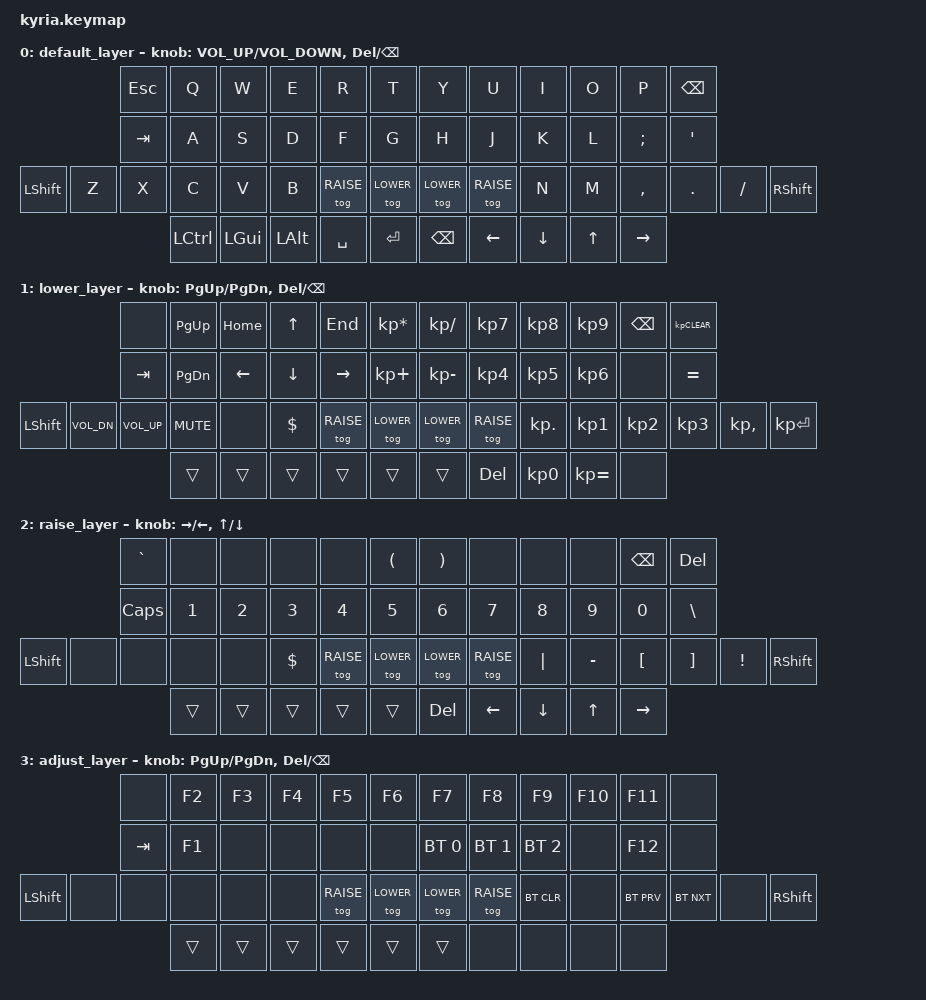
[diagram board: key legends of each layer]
/*
 * Copyright (c) 2020 The ZMK Contributors
 *
 * SPDX-License-Identifier: MIT
 */

#include <zephyr/zephyr.h>
#include <behaviors.dtsi>
#include <dt-bindings/zmk/keys.h>
#include <dt-bindings/zmk/bt.h>

#define DEFAULT 0
#define LOWER   1
#define RAISE   2
#define ADJUST  3

/ {
    conditional_layers {
        compatible = "zmk,conditional-layers";
        tri_layer {
            if-layers = <1 2>;
            then-layer = <3>;
        };
    };
};

/ {
	keymap {
		compatible = "zmk,keymap";

		default_layer {
// QWERTY Layout
// ---------------------------------------------------------------------------------------------------------------------------------
// |  ESC  |  Q  |  W  |  E    |  R   |   T   |                                          |   Y   |  U    |  I    |  O   |   P   | BkSp |
// |  TAB  |  A  |  S  |  D    |  F   |   G   |                                          |   H   |  J    |  K    |  L   |   ;   |  '   |
// | SHIFT |  Z  |  X  |  C    |  V   |   B   | LOWER | RAISE |        |RAISE |LOWER |   N   |  M    |  ,    |  .   |   /   | SHFT |
//                     | LCTRL  | LGUI  | LALT |  SPACE | Enter |      | bspc | Left | Down | Up  | Right |
			bindings = <
	&kp ESC  &kp Q &kp W &kp E &kp R &kp T                                                &kp Y &kp U  &kp I     &kp O   &kp P          &kp BSPC
	&kp TAB  &kp A &kp S &kp D &kp F &kp G                                                &kp H &kp J  &kp K     &kp L   &kp SEMICOLON  &kp APOSTROPHE
	&kp LSHFT  &kp Z &kp X &kp C &kp V &kp B  &tog RAISE &tog LOWER   &tog LOWER &tog RAISE &kp N &kp M  &kp COMMA &kp DOT &kp FSLH &kp RSHFT
	              &kp LCTRL &kp LGUI &kp LALT &kp SPACE &kp ENTER    &kp BSPC &kp LEFT &kp DOWN &kp UP &kp RIGHT
			>;
//Keypresses Volume Down and Volume Up Left Encoder  |  Keypressess Backspace and Delete Right Encoder
			sensor-bindings = <&inc_dec_kp C_VOLUME_UP C_VOLUME_DOWN &inc_dec_kp DEL BSPC>;
		};

		lower_layer {
// Navigation, Volume, and Numpad
// ---------------------------------------------------------------------------------------------------------------------------------
// |  NONE | PG UP | HOME       | ARROW UP | END        | *      |                                             |   /       |  7       |  8    |  9  |   BKSP   | CLEAR  |
// |  TAB  | PG DN | ARROW LEFT | ARROW DN | ARROW RHT  | +      |                                             |   -       |  4       |  5    |  6  |   NONE   |     =     |
// | SHIFT | VOL - | VOL +      | MUTE     | NONE       |  $     | Lower  | Raise |          |Raise| Lower |  KP_DOT   |  1       |  2    |  3  |     ,    |    Enter  |
//                              | TRANS    | TRANS      | TRANS  | SPACE  | enter|          | none |  none |   0       | KP_EQUAL | ????? |
			bindings = <
	&none    &kp PG_UP &kp HOME &kp UP &kp END &kp KP_MULTIPLY                                                  &kp KP_DIVIDE &kp KP_N7 &kp KP_N8 &kp KP_N9 &kp BSPC &kp KP_CLEAR
	&kp TAB  &kp PG_DN &kp LEFT  &kp DOWN &kp RIGHT  &kp KP_PLUS                                                &kp KP_MINUS &kp KP_N4 &kp KP_N5 &kp KP_N6 &none &kp EQUAL
	&kp LSHFT &kp C_VOL_DN &kp C_VOL_UP  &kp C_MUTE  &none  &kp DLLR &tog RAISE &tog LOWER   &tog LOWER &tog RAISE  &kp KP_DOT  &kp KP_N1 &kp KP_N2 &kp KP_N3 &kp KP_COMMA &kp KP_ENTER
	                     &trans &trans &trans &trans &trans                                   &trans &kp DEL &kp KP_N0 &kp KP_EQUAL &none
			>;
//Application controls Zoom In and Zoom Out Left Encoder |  Keypresses Backspace and Delete Right Encoder->CHANGED
			sensor-bindings = <&inc_dec_kp PG_UP PG_DN &inc_dec_kp DEL BSPC>; 
		};

		raise_layer {
// Number row and Punctuation
// ---------------------------------------------------------------------------------------------------------------------------------
// |  GRAVE  | NONE |  NONE | NONE | NONE |  (   |                                            |   )     | NONE  | NONE  | NONE | BKSP | DEL |
// |  CAPS  |  1 !  |  2 @  |  3 # | 4 $  |  5 % |                                            |   6 ^    |  7 & |  8 *  |  9 ( |  0 ) | \ |  |
// | SHIFT |  NONE  | NONE  | NONE | NONE |  $   | Lower  | Raise |        |Raise| Lower   |   PIPE  | MINUS |  LBKT | RBKT |  !   | SHFT |
//                     | TRANS | TRANS | TRANS   |SPACE  | enter|          | DEL | left |  down  | up |right|
			bindings = <
	&kp GRAVE &none &none &none &none &kp LPAR                                                             &kp RPAR &none &none &none  &kp BSPC &kp DEL
	&kp CAPS &kp N1 &kp N2 &kp N3 &kp N4 &kp N5                                                               &kp N6 &kp N7 &kp N8 &kp N9 &kp N0 &kp BSLH
	&kp LSHFT &none &none &none &none &kp DLLR &tog RAISE &tog LOWER   &tog LOWER &tog RAISE &kp PIPE &kp MINUS &kp LBKT &kp RBKT &kp EXCL &kp RSHFT
	                   &trans &trans &trans &trans &trans                   &kp DEL &kp LEFT &kp DOWN &kp UP &kp RIGHT
			>;
//Media Controls Rewind and Fast Foward on Left Encoder | Application Controls Backward and Forward Right Encoder
			sensor-bindings = <&inc_dec_kp RIGHT LEFT &inc_dec_kp UP DOWN>;
		};

		adjust_layer {
// Function row 
// ---------------------------------------------------------------------------------------------------------------------------------
// |  NONE |  F2  |  F3 |  F4  |  F5  |   F6   |                                            | F7 | F8  |  F9   |  F10  | F11 | NONE|
// |  TAB  |  F1  |  NONE | NONE | NONE | NONE |                                            | BT_SEL 0 | BT_SEL 1 | BT_SEL 2 | NONE | F12 | NONE |
// | SHIFT |  test key  |  NONE  | NONE | NONE | NONE |Lower| Raise |         |Raise| Lower | bt clr | none | bt prv | bt nxt | NONE | SHFT |
//                            | TRANS | TRANS | TRANS | test key | none |         | NONE |NONE | NONE | NONE |NONE|
			bindings = <
	&none &kp F2  &kp F3  &kp F4  &kp F5  &kp F6                                   &kp F7 &kp F8 &kp F9 &kp F10 &kp F11 &none
	&kp TAB  &kp F1 &none  &none  &none &none                                      &bt BT_SEL 0 &bt BT_SEL 1 &bt BT_SEL 2 &none &kp F12 &none
	&kp LSHFT &none &none &none  &none &none &tog RAISE &tog LOWER   &tog LOWER &tog RAISE &bt BT_CLR &none &bt BT_PRV &bt BT_NXT &none &kp RSHFT
	              &trans &trans &trans &trans &trans                    &trans &none &none &none &none
			>;
//Keypressess Arrow Left and Arrow Right  | Keypress Arrow Down and Arrow Up->CHANGED TO: Media Controls Rewind and Fast Foward on Left Encoder | Application Controls Backward and Forward Right Encoder
			sensor-bindings = <&inc_dec_kp PG_UP PG_DN &inc_dec_kp DEL BSPC>;
		};
	};
};
